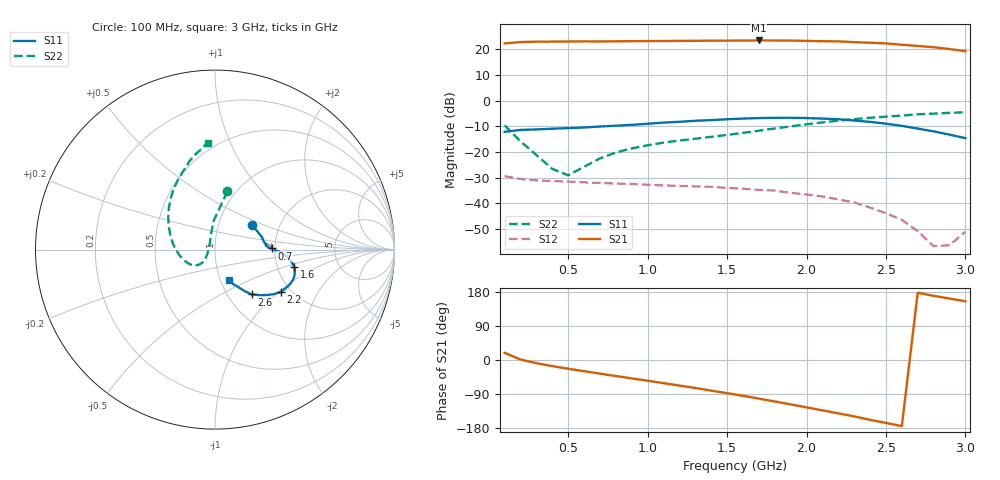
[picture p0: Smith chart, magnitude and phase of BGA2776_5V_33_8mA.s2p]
! Bias: Vs=5.00 V; Is=23.8 mA
#  MHz  S  MA  R 50
! Freq  S11  S21  S12  S22
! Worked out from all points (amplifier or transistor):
!   30 points, 100 MHz to 3 GHz, reference 50 ohm
!   highest |S21| = 23.5 dB at 1.7 GHz (marker M1)
!   |S21| within 3 dB of that: start of sweep to 2.85 GHz
!   unconditionally stable (mu >= 1): start of sweep to end of sweep
!   at 600 MHz: K = 1.42, MAG = 23.6 dB, |S12| = -31.8 dB
!   at 1.6 GHz: K = 1.44, MAG = 25.0 dB, |S12| = -34.3 dB
!   at 3 GHz: K = 12.05, MAG = 21.4 dB, |S12| = -51.1 dB
!   S11 on the Smith chart (normalised r, x): 100 MHz: 1.45, +0.42; 700 MHz: 1.92, +0.03; 1.6 GHz: 2.47, -0.58; 2.2 GHz: 1.78, -1.03; 2.6 GHz: 1.29, -0.72; 3 GHz: 1.10, -0.39
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100  0.2481 33.2  13.13 18.9  0.03393 19.0  0.332 78.0
200  0.2703 15.2  13.94 1.3  0.0298 7.8  0.1614 92.5
300  0.276 9.3  14.17 -8.3  0.02805 1.0  0.08783 104.7
400  0.2852 5.6  14.23 -16.2  0.0272 -3.2  0.04702 127.6
500  0.2933 3.3  14.3 -23.0  0.02656 -6.2  0.03523 177.7
600  0.3007 2.0  14.37 -29.6  0.02573 -8.4  0.05169 -147.7
700  0.3151 1.2  14.34 -36.0  0.02499 -10.1  0.07518 -136.5
900  0.3388 -0.8  14.52 -48.5  0.02386 -13.6  0.1181 -135.8
1100  0.3752 -3.5  14.61 -61.1  0.02238 -15.9  0.1527 -145.4
1300  0.4073 -5.8  14.72 -73.9  0.02138 -18.1  0.1819 -160.7
1400  0.4197 -7.8  14.83 -80.9  0.021 -20.4  0.1981 -169.9
1600  0.4497 -12.1  14.91 -94.5  0.0193 -24.4  0.2369 171.7
1700  0.4598 -14.5  14.98 -101.9  0.01833 -26.9  0.2605 162.5
1800  0.4651 -17.8  14.94 -109.4  0.01774 -29.4  0.2883 153.5
1900  0.4666 -20.9  14.88 -117.1  0.01605 -33.2  0.3162 145.4
2100  0.4492 -28.5  14.48 -132.9  0.01361 -37.7  0.3781 130.6
2200  0.4368 -32.6  14.39 -140.7  0.01193 -41.3  0.4096 124.2
2400  0.3878 -40.7  13.53 -157.9  0.008281 -43.8  0.4661 113.2
2500  0.3575 -45.2  13.12 -165.9  0.006424 -45.5  0.4906 108.7
2600  0.3242 -50.5  12.36 -174.5  0.004771 -48.9  0.5142 106.0
2800  0.2531 -57.3  11.05 169.3  0.001464 -17.4  0.5613 98.3
3000  0.1867 -65.5  9.275 155.0  0.002799 94.0  0.5975 93.6
